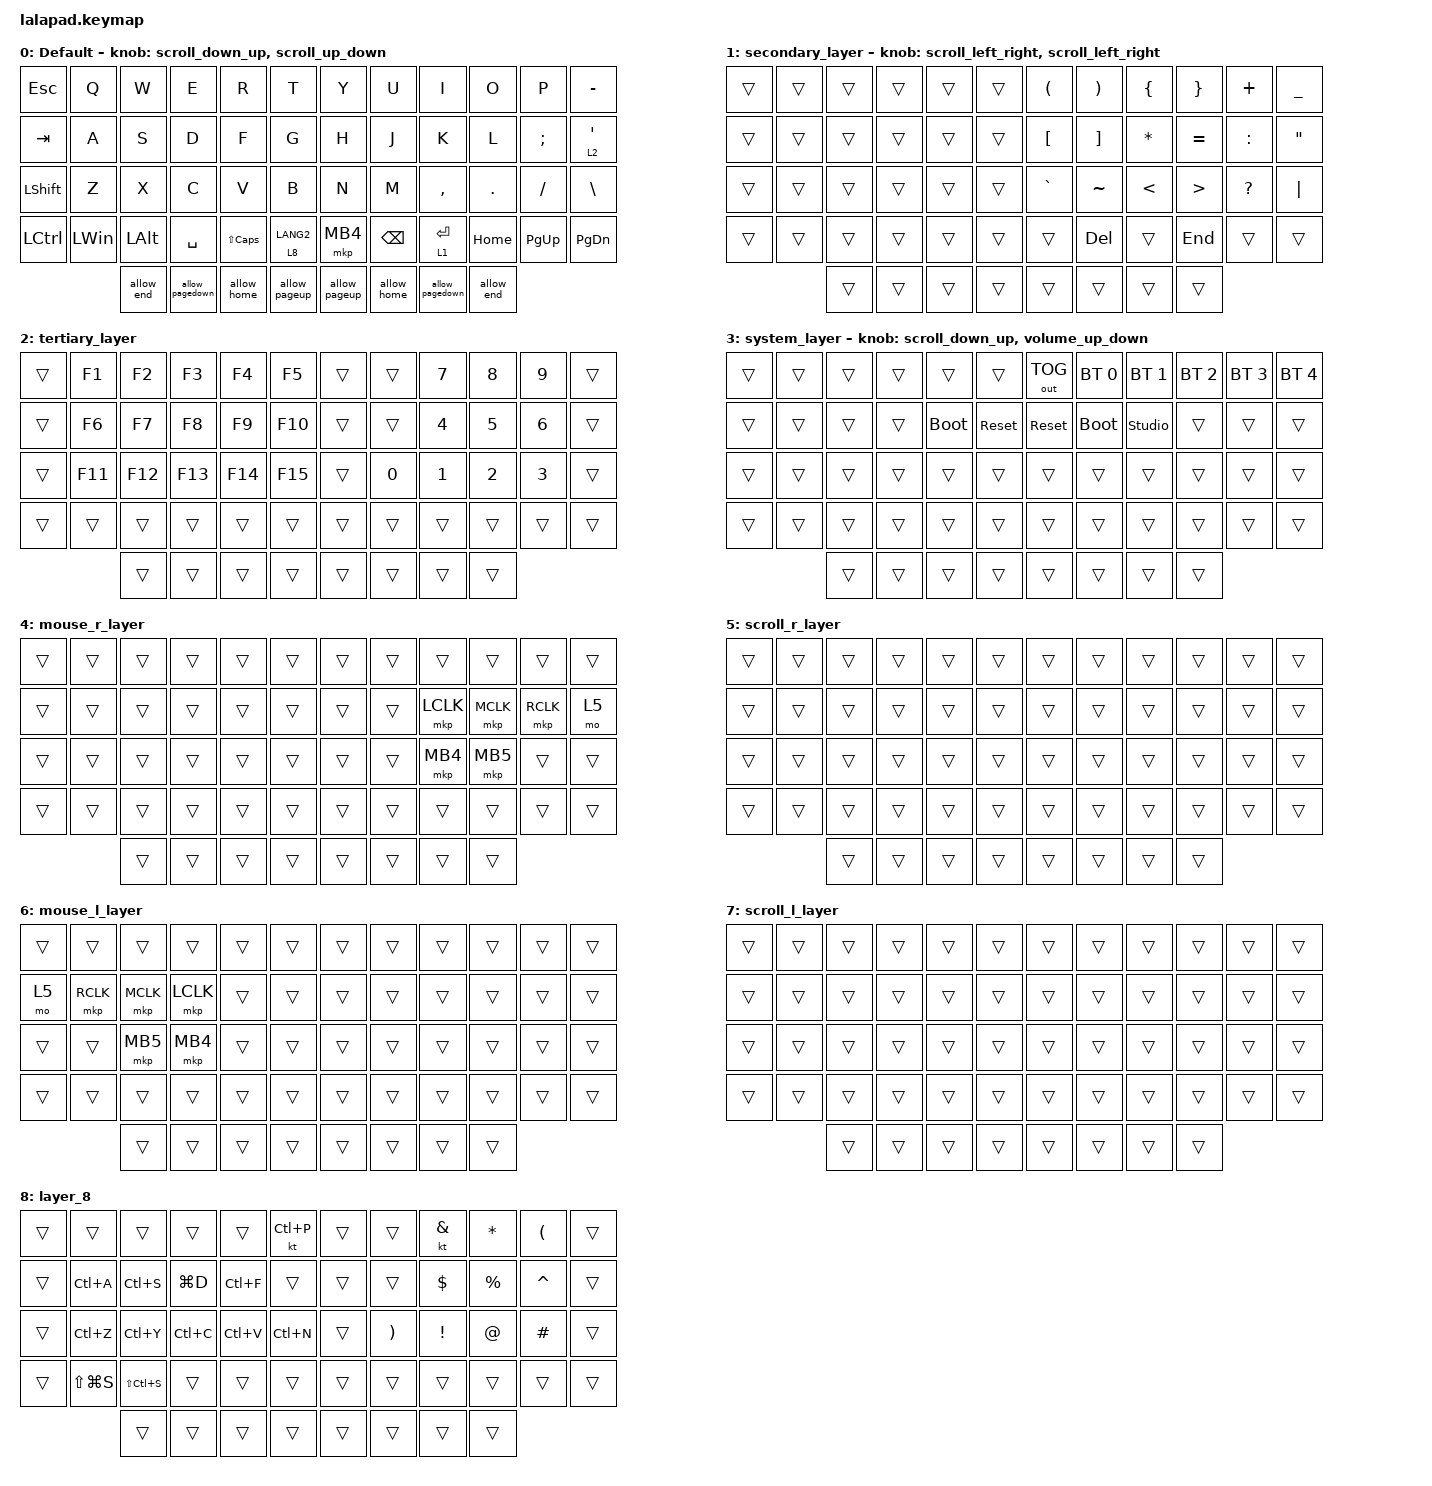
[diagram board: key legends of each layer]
#include <input/processors.dtsi>
#include <behaviors.dtsi>
#include <dt-bindings/zmk/bt.h>
#include <dt-bindings/zmk/keys.h>
#include <dt-bindings/zmk/outputs.h>
#include <dt-bindings/zmk/pointing.h>

#define DEFAULT_LAYER   0
#define SECONDARY_LAYER 1
#define TERTIARY_LAYER  2
#define SYSTEM_LAYER    3
#define MOUSE_R_LAYER   4
#define SCROLL_R_LAYER  5
#define MOUSE_L_LAYER   6
#define SCROLL_L_LAYER  7

// Mouse Scroll Value

#define ZMK_POINTING_DEFAULT_SCRL_VAL 100

// cirque trackpad input&layer control

&glidepoint_listener_R {
    input-processors =
        <&zip_xy_transform (INPUT_TRANSFORM_XY_SWAP | INPUT_TRANSFORM_X_INVERT | INPUT_TRANSFORM_Y_INVERT)>,
        <&zip_xy_scaler 4 1>,
        <&zip_temp_layer MOUSE_R_LAYER 500>;

    lowspeedmode {
        layers = <SECONDARY_LAYER>;
        input-processors =
            <&zip_xy_transform (INPUT_TRANSFORM_XY_SWAP | INPUT_TRANSFORM_X_INVERT | INPUT_TRANSFORM_Y_INVERT)>,
            <&zip_xy_scaler 3 5>,
            <&zip_temp_layer MOUSE_R_LAYER 500>;
    };

    scroller {
        layers = <SCROLL_R_LAYER>;
        input-processors =
            <&zip_xy_to_scroll_mapper>,
            <&zip_scroll_transform (INPUT_TRANSFORM_XY_SWAP | INPUT_TRANSFORM_Y_INVERT)>,
            <&zip_scroll_scaler 1 8>;
    };
};

&glidepoint_listener_L {
    input-processors =
        <&zip_xy_transform (INPUT_TRANSFORM_XY_SWAP | INPUT_TRANSFORM_X_INVERT | INPUT_TRANSFORM_Y_INVERT)>,
        <&zip_xy_scaler 3 2>,
        <&zip_temp_layer MOUSE_L_LAYER 500>;

    lowspeedmode {
        layers = <SECONDARY_LAYER>;
        input-processors =
            <&zip_xy_transform (INPUT_TRANSFORM_XY_SWAP | INPUT_TRANSFORM_X_INVERT | INPUT_TRANSFORM_Y_INVERT)>,
            <&zip_xy_scaler 3 4>,
            <&zip_temp_layer MOUSE_L_LAYER 500>;
    };

    scroller {
        layers = <SCROLL_L_LAYER>;
        input-processors =
            <&zip_xy_to_scroll_mapper>,
            <&zip_scroll_transform (INPUT_TRANSFORM_XY_SWAP | INPUT_TRANSFORM_Y_INVERT)>,
            <&zip_scroll_scaler 1 6>;
    };
};

/ {
    behaviors {
        // Encoder to Mouse Scroll

        scroll_up_down: behavior_sensor_rotate_mouse_wheel_up_down {
            compatible = "zmk,behavior-sensor-rotate";
            #sensor-binding-cells = <0>;
            bindings = <&msc SCRL_UP>, <&msc SCRL_DOWN>;

            tap-ms = <20>;
        };

        scroll_down_up: behavior_sensor_rotate_mouse_wheel_down_up {
            compatible = "zmk,behavior-sensor-rotate";
            #sensor-binding-cells = <0>;
            bindings = <&msc SCRL_DOWN>, <&msc SCRL_UP>;

            tap-ms = <20>;
        };

        scroll_left_right: behavior_sensor_rotate_mouse_wheel_left_right {
            compatible = "zmk,behavior-sensor-rotate";
            #sensor-binding-cells = <0>;
            bindings = <&msc SCRL_LEFT>, <&msc SCRL_RIGHT>;

            tap-ms = <20>;
        };

        scroll_right_left: behavior_sensor_rotate_mouse_wheel_right_left {
            compatible = "zmk,behavior-sensor-rotate";
            #sensor-binding-cells = <0>;
            bindings = <&msc SCRL_RIGHT>, <&msc SCRL_LEFT>;

            tap-ms = <20>;
        };

        volume_up_down: behavior_sensor_rotate_volume_up_down {
            compatible = "zmk,behavior-sensor-rotate";
            #sensor-binding-cells = <0>;
            bindings = <&kp C_VOLUME_UP>, <&kp C_VOLUME_DOWN>;

            tap-ms = <20>;
        };

        dot_comma: dot_comma {
            compatible = "zmk,behavior-mod-morph";
            #binding-cells = <0>;
            bindings = <&kp KP_DOT>, <&kp COMMA>;

            mods = <(MOD_LSFT|MOD_RSFT)>;
            label = "DOT_COMMA";
        };

        pls_minus: pls_minus {
            compatible = "zmk,behavior-mod-morph";
            #binding-cells = <0>;
            bindings = <&kp PLUS>, <&kp MINUS>;

            mods = <(MOD_LSFT|MOD_RSFT)>;
            label = "PLS_MINUS";
        };

        allow_pageup: allow_pageup {
            compatible = "zmk,behavior-mod-morph";
            #binding-cells = <0>;
            bindings = <&kp UP>, <&kp PAGE_UP>;

            mods = <(MOD_LCTL|MOD_RCTL)>;
            label = "ALLOW_PAGEUP";
        };

        allow_pagedown: allow_pagedown {
            compatible = "zmk,behavior-mod-morph";
            #binding-cells = <0>;
            bindings = <&kp DOWN>, <&kp PAGE_DOWN>;

            mods = <(MOD_LCTL|MOD_RCTL)>;
            label = "ALLOW_PAGEDOWN";
        };

        allow_home: allow_home {
            compatible = "zmk,behavior-mod-morph";
            #binding-cells = <0>;
            bindings = <&kp LEFT>, <&kp HOME>;

            mods = <(MOD_LCTL|MOD_RCTL)>;
            label = "ALLOW_HOME";
        };

        allow_end: allow_end {
            compatible = "zmk,behavior-mod-morph";
            #binding-cells = <0>;
            bindings = <&kp RIGHT>, <&kp END>;

            mods = <(MOD_LCTL|MOD_RCTL)>;
            label = "ALLOW_END";
        };

        mt2: mod_tap2 {
            compatible = "zmk,behavior-hold-tap";
            #binding-cells = <2>;
            flavor = "tap-preferred";
            tapping-term-ms = <200>;
            quick-tap-ms = <200>;
            require-prior-idle-ms = <125>;
            bindings = <&kp>, <&kp>;
        };
    };

    keymap {
        compatible = "zmk,keymap";

        DEFAULT_LAYER {
            display-name = "Default";
            sensor-bindings = <&scroll_down_up>, <&scroll_up_down>;

            bindings = <
&kp ESC    &kp Q         &kp W         &kp E            &kp R         &kp T          &kp Y          &kp U          &kp I            &kp O       &kp P      &kp MINUS
&kp TAB    &kp A         &kp S         &kp D            &kp F         &kp G          &kp H          &kp J          &kp K            &kp L       &kp SEMI   &lt 2 SQT
&kp LSHFT  &kp Z         &kp X         &kp C            &kp V         &kp B          &kp N          &kp M          &kp COMMA        &kp PERIOD  &kp SLASH  &kp BSLH
&kp LCTRL  &kp LEFT_WIN  &kp LEFT_ALT  &kp SPACE        &kp LS(CAPS)  &lt 8 LANG2    &mkp MB4       &kp BACKSPACE  &lt 1 ENTER      &kp HOME    &kp PG_UP  &kp PG_DN
                         &allow_end    &allow_pagedown  &allow_home   &allow_pageup  &allow_pageup  &allow_home    &allow_pagedown  &allow_end
            >;
        };

        SECONDARY_LAYER {
            display-name = "secondary_layer";
            sensor-bindings = <&scroll_left_right>, <&scroll_left_right>;

            bindings = <
&trans  &trans  &trans  &trans  &trans  &trans  &kp LPAR   &kp RPAR    &kp LBRC      &kp RBRC   &kp PLUS      &kp UNDERSCORE
&trans  &trans  &trans  &trans  &trans  &trans  &kp LBKT   &kp RBKT    &kp ASTERISK  &kp EQUAL  &kp COLON     &kp DOUBLE_QUOTES
&trans  &trans  &trans  &trans  &trans  &trans  &kp GRAVE  &kp TILDE   &kp LT        &kp GT     &kp QUESTION  &kp PIPE
&trans  &trans  &trans  &trans  &trans  &trans  &trans     &kp DELETE  &trans        &kp END    &trans        &trans
                &trans  &trans  &trans  &trans  &trans     &trans      &trans        &trans
            >;
        };

        TERTIARY_LAYER {
            display-name = "tertiary_layer";
            bindings = <
&trans  &kp F1   &kp F2   &kp F3   &kp F4   &kp F5   &trans  &trans  &kp N7  &kp N8  &kp N9  &trans
&trans  &kp F6   &kp F7   &kp F8   &kp F9   &kp F10  &trans  &trans  &kp N4  &kp N5  &kp N6  &trans
&trans  &kp F11  &kp F12  &kp F13  &kp F14  &kp F15  &trans  &kp N0  &kp N1  &kp N2  &kp N3  &trans
&trans  &trans   &trans   &trans   &trans   &trans   &trans  &trans  &trans  &trans  &trans  &trans
                 &trans   &trans   &trans   &trans   &trans  &trans  &trans  &trans
            >;
        };

        SYSTEM_LAYER {
            display-name = "system_layer";
            sensor-bindings = <&scroll_down_up>, <&volume_up_down>;

            bindings = <
&trans  &trans  &trans  &trans  &trans       &trans      &out OUT_TOG  &bt BT_SEL 0  &bt BT_SEL 1    &bt BT_SEL 2  &bt BT_SEL 3  &bt BT_SEL 4
&trans  &trans  &trans  &trans  &bootloader  &sys_reset  &sys_reset    &bootloader   &studio_unlock  &trans        &trans        &trans
&trans  &trans  &trans  &trans  &trans       &trans      &trans        &trans        &trans          &trans        &trans        &trans
&trans  &trans  &trans  &trans  &trans       &trans      &trans        &trans        &trans          &trans        &trans        &trans
                &trans  &trans  &trans       &trans      &trans        &trans        &trans          &trans
            >;
        };

        MOUSE_R_LAYER {
            display-name = "mouse_r_layer";
            bindings = <
&trans  &trans  &trans  &trans  &trans  &trans  &trans  &trans  &trans     &trans     &trans     &trans
&trans  &trans  &trans  &trans  &trans  &trans  &trans  &trans  &mkp LCLK  &mkp MCLK  &mkp RCLK  &mo 5
&trans  &trans  &trans  &trans  &trans  &trans  &trans  &trans  &mkp MB4   &mkp MB5   &trans     &trans
&trans  &trans  &trans  &trans  &trans  &trans  &trans  &trans  &trans     &trans     &trans     &trans
                &trans  &trans  &trans  &trans  &trans  &trans  &trans     &trans
            >;
        };

        SCROLL_R_LAYER {
            display-name = "scroll_r_layer";
            bindings = <
&trans  &trans  &trans  &trans  &trans  &trans  &trans  &trans  &trans  &trans  &trans  &trans
&trans  &trans  &trans  &trans  &trans  &trans  &trans  &trans  &trans  &trans  &trans  &trans
&trans  &trans  &trans  &trans  &trans  &trans  &trans  &trans  &trans  &trans  &trans  &trans
&trans  &trans  &trans  &trans  &trans  &trans  &trans  &trans  &trans  &trans  &trans  &trans
                &trans  &trans  &trans  &trans  &trans  &trans  &trans  &trans
            >;
        };

        MOUSE_L_LAYER {
            display-name = "mouse_l_layer";
            bindings = <
&trans  &trans     &trans     &trans     &trans  &trans  &trans  &trans  &trans  &trans  &trans  &trans
&mo 5   &mkp RCLK  &mkp MCLK  &mkp LCLK  &trans  &trans  &trans  &trans  &trans  &trans  &trans  &trans
&trans  &trans     &mkp MB5   &mkp MB4   &trans  &trans  &trans  &trans  &trans  &trans  &trans  &trans
&trans  &trans     &trans     &trans     &trans  &trans  &trans  &trans  &trans  &trans  &trans  &trans
                   &trans     &trans     &trans  &trans  &trans  &trans  &trans  &trans
            >;
        };

        SCROLL_L_LAYER {
            display-name = "scroll_l_layer";
            bindings = <
&trans  &trans  &trans  &trans  &trans  &trans  &trans  &trans  &trans  &trans  &trans  &trans
&trans  &trans  &trans  &trans  &trans  &trans  &trans  &trans  &trans  &trans  &trans  &trans
&trans  &trans  &trans  &trans  &trans  &trans  &trans  &trans  &trans  &trans  &trans  &trans
&trans  &trans  &trans  &trans  &trans  &trans  &trans  &trans  &trans  &trans  &trans  &trans
                &trans  &trans  &trans  &trans  &trans  &trans  &trans  &trans
            >;
        };

        layer_8 {
            bindings = <
&trans  &trans         &trans         &trans     &trans     &kt LC(P)  &trans  &trans    &kt AMPERSAND    &kp ASTERISK  &kp LPAR   &trans
&trans  &kp LC(A)      &kp LC(S)      &kp LG(D)  &kp LC(F)  &trans     &trans  &trans    &kp DOLLAR       &kp PERCENT   &kp CARET  &trans
&trans  &kp LC(Z)      &kp LC(Y)      &kp LC(C)  &kp LC(V)  &kp LC(N)  &trans  &kp RPAR  &kp EXCLAMATION  &kp AT        &kp HASH   &trans
&trans  &kp LS(LG(S))  &kp LS(LC(S))  &trans     &trans     &trans     &trans  &trans    &trans           &trans        &trans     &trans
                       &trans         &trans     &trans     &trans     &trans  &trans    &trans           &trans
            >;
        };
    };
};
